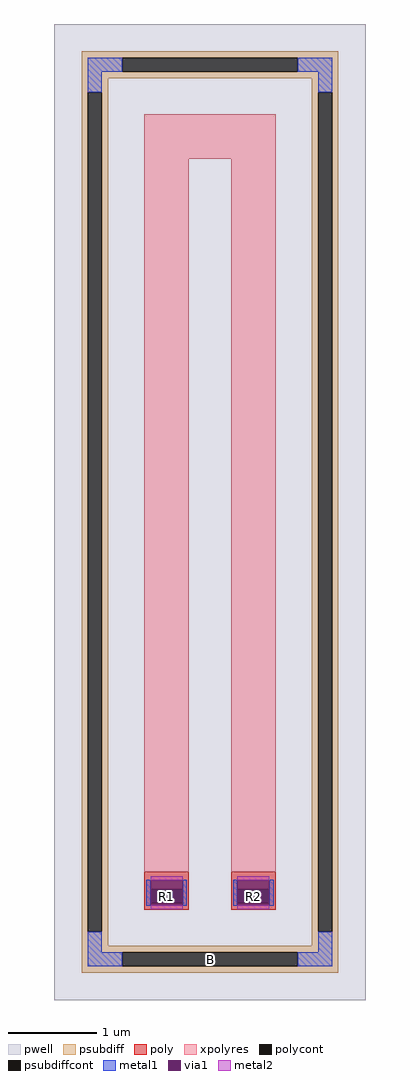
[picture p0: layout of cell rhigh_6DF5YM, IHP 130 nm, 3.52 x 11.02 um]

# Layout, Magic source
magic
tech ihp-sg13g2
magscale 1 2
<< pwell >>
rect -352 -1102 352 1102
<< psubdiff >>
rect -290 1026 290 1040
rect -290 994 -198 1026
rect 198 994 290 1026
rect -290 980 290 994
rect -290 948 -230 980
rect -290 -948 -276 948
rect -244 -948 -230 948
rect 230 948 290 980
rect -290 -980 -230 -948
rect 230 -948 244 948
rect 276 -948 290 948
rect 230 -980 290 -948
rect -290 -994 290 -980
rect -290 -1026 -198 -994
rect 198 -1026 290 -994
rect -290 -1040 290 -1026
<< psubdiffcont >>
rect -198 994 198 1026
rect -276 -948 -244 948
rect 244 -948 276 948
rect -198 -1026 198 -994
<< poly >>
rect -148 -852 -48 -812
rect -148 -884 -134 -852
rect -62 -884 -48 -852
rect -148 -898 -48 -884
rect 48 -852 148 -812
rect 48 -884 62 -852
rect 134 -884 148 -852
rect 48 -898 148 -884
<< polycont >>
rect -134 -884 -62 -852
rect 62 -884 134 -852
<< xpolyres >>
rect -148 798 148 898
rect -148 -812 -48 798
rect 48 -812 148 798
<< metal1 >>
rect -276 994 -198 1026
rect 198 994 276 1026
rect -276 948 -244 994
rect 244 948 276 994
rect -144 -832 -52 -831
rect -144 -888 -134 -832
rect -62 -888 -52 -832
rect -144 -889 -52 -888
rect 52 -832 144 -831
rect 52 -888 62 -832
rect 134 -888 144 -832
rect 52 -889 144 -888
rect -276 -994 -244 -948
rect 244 -994 276 -948
rect -276 -1026 -198 -994
rect 198 -1026 276 -994
<< via1 >>
rect -134 -852 -62 -832
rect -134 -884 -62 -852
rect -134 -888 -62 -884
rect 62 -852 134 -832
rect 62 -884 134 -852
rect 62 -888 134 -884
<< metal2 >>
rect -134 -832 -62 -823
rect -134 -897 -62 -888
rect 62 -832 134 -823
rect 62 -897 134 -888
<< labels >>
rlabel psubdiffcont 0 -1010 0 -1010 0 B
port 1 nsew
rlabel polycont -98 -868 -98 -868 0 R1
port 2 nsew
rlabel polycont 98 -868 98 -868 0 R2
port 3 nsew
<< properties >>
string FIXED_BBOX -260 -1010 260 1010
string gencell rhigh
string library sg13g2
string parameters w 0.50 l 8.351 m 1 nx 2 wmin 0.50 lmin 0.50 class resistor rho 1360 val 46.789k dummy 0 dw 0.0 term 0.0 sterm 0.0 caplen 0 guard 1 glc 1 grc 1 gtc 1 gbc 1 snake 1 full_metal 1 n_guard 0 hv_guard 0 vias 1 viagb 0 viagt 0 viagl 0 viagr 0 doports 1
<< end >>
